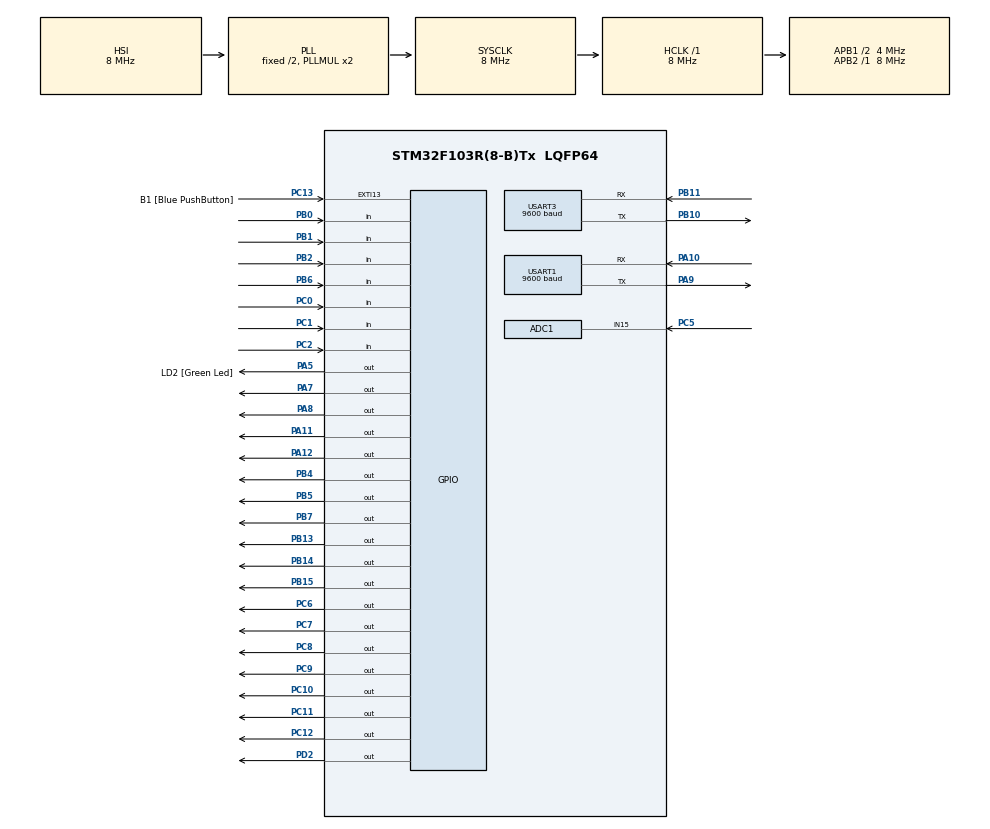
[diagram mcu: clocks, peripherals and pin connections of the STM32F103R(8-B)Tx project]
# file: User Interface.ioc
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Mcu.Family=STM32F1
PA2.GPIO_PuPd=GPIO_NOPULL
FREERTOS.Queues01=FlowQueue,8,uint16_t,0,Dynamic,NULL,NULL;WeatherQueue,8,uint16_t,0,Dynamic,NULL,NULL;SolenoidQueue,8,uint16_t,0,Dynamic,NULL,NULL;UserQueue,8,uint16_t,0,Dynamic,NULL,NULL;WebsiteQueue,8,uint16_t,0,Dynamic,NULL,NULL;ProcessQueue,8,uint16_t,0,Dynamic,NULL,NULL
PB10.Mode=Asynchronous
USART1.BaudRate=9600
PC10.Signal=GPIO_Output
PC12.Signal=GPIO_Output
PA14.GPIO_Label=TCK
PA3.GPIO_PuPd=GPIO_NOPULL
PA2.GPIO_Speed=GPIO_SPEED_FREQ_LOW
PA3.GPIO_Speed=GPIO_SPEED_FREQ_LOW
PB11.Signal=USART3_RX
PB13.Signal=GPIO_Output
PB15.Signal=GPIO_Output
RCC.SYSCLKSource=RCC_SYSCLKSOURCE_PLLCLK
ProjectManager.StackSize=0x400
VP_FREERTOS_VS_CMSIS_V2.Mode=CMSIS_V2
PD1-OSC_OUT.Signal=RCC_OSC_OUT
PA12.Signal=GPIO_Output
USART3.BaudRate=9600
PB1.GPIO_PuPd=GPIO_PULLDOWN
RCC.HCLKFreq_Value=8000000
RCC.APB2TimFreq_Value=8000000
PB6.Signal=GPIO_Input
PC7.Signal=GPIO_Output
TIM2.ClockDivision=TIM_CLOCKDIVISION_DIV1
RCC.AHBFreq_Value=8000000
NVIC.EXTI15_10_IRQn=true\:5\:0\:false\:false\:true\:true\:true\:true
ADC1.Channel-0\#ChannelRegularConversion=ADC_CHANNEL_15
PB2.Signal=GPIO_Input
SH.ADCx_IN15.0=ADC1_IN15,IN15
RCC.RTCClockSelection=RCC_RTCCLKSOURCE_LSE
PC14-OSC32_IN.Mode=LSE-External-Oscillator
PA14.Mode=Serial_Wire
PA5.GPIO_PuPd=GPIO_NOPULL
PB7.Signal=GPIO_Output
PA8.Signal=GPIO_Output
PB2.GPIO_PuPd=GPIO_PULLDOWN
VP_TIM1_VS_ClockSourceINT.Mode=Internal
ADC1.SamplingTime-0\#ChannelRegularConversion=ADC_SAMPLETIME_1CYCLE_5
FREERTOS.configTOTAL_HEAP_SIZE=6000
Mcu.Package=LQFP64
PB1.Signal=GPIO_Input
NVIC.TimeBase=TIM4_IRQn
PC13-TAMPER-RTC.GPIO_PuPd=GPIO_NOPULL
PA2.GPIO_Label=USART_TX
NVIC.TimeBaseIP=TIM4
PA10.Signal=USART1_RX
RCC.APB1TimFreq_Value=8000000
PC5.Signal=ADCx_IN15
PB4.Signal=GPIO_Output
PA3.Signal=USART2_RX
PA2.GPIO_Mode=GPIO_MODE_AF_PP
PB3.GPIO_Label=SWO
PC15-OSC32_OUT.Mode=LSE-External-Oscillator
FREERTOS.Tasks01=XbeeTask,33,128,StartXbeeTask,Default,NULL,Dynamic,NULL,NULL;UserTask,34,128,StartUserTask,Default,NULL,Dynamic,NULL,NULL;SolenoidTask,35,128,StartSolenoidTask,Default,NULL,Dynamic,NULL,NULL;WeatherTask,36,128,StartWeatherTask,Default,NULL,Dynamic,NULL,NULL;FlowTask,37,128,StartFlowTask,Default,NULL,Dynamic,NULL,NULL;WebsiteTask,39,128,StartWebsiteTask,Default,NULL,Dynamic,NULL,NULL
ADC1.Rank-0\#ChannelRegularConversion=1
PD1-OSC_OUT.Mode=HSE-External-Clock-Source
PA10.Mode=Asynchronous
PC11.Signal=GPIO_Output
PC8.Signal=GPIO_Output
PC2.Signal=GPIO_Input
PC6.Signal=GPIO_Output
PC13-TAMPER-RTC.Signal=GPXTI13
PD0-OSC_IN.Signal=RCC_OSC_IN
PC0.Signal=GPIO_Input
RCC.APB1CLKDivider=RCC_HCLK_DIV2
PC14-OSC32_IN.Signal=RCC_OSC32_IN
PA13.Signal=SYS_JTMS-SWDIO
PA9.Mode=Asynchronous
PB11.Mode=Asynchronous
ProjectManager.TargetToolchain=STM32CubeIDE
PA3.GPIO_Mode=GPIO_MODE_AF_PP
PA9.Signal=USART1_TX
RCC.USBFreq_Value=8000000
PC15-OSC32_OUT.Signal=RCC_OSC32_OUT
PB14.GPIO_ModeDefaultOutputPP=GPIO_MODE_OUTPUT_PP
PD0-OSC_IN.Mode=HSE-External-Clock-Source
PB10.Signal=USART3_TX
PB14.Signal=GPIO_Output
PA5.Signal=GPIO_Output
board=NUCLEO-F103RB
PC13-TAMPER-RTC.GPIO_Label=B1 [Blue PushButton]
RCC.APB2Freq_Value=8000000
PA5.GPIO_ModeDefaultOutputPP=GPIO_MODE_OUTPUT_PP
VP_TIM2_VS_ClockSourceINT.Mode=Internal
PA13.Mode=Serial_Wire
Mcu.Name=STM32F103R(8-B)Tx
PA2.Signal=USART2_TX
PA13.GPIO_Label=TMS
PB3.Signal=SYS_JTDO-TRACESWO
RCC.SYSCLKFreq_VALUE=8000000
PB5.Signal=GPIO_Output
ADC1.master=1
PA5.GPIO_Label=LD2 [Green Led]
USART3.VirtualMode=VM_ASYNC
USART1.VirtualMode=VM_ASYNC
PA11.Signal=GPIO_Output
PA14.Signal=SYS_JTCK-SWCLK
ProjectManager.HeapSize=0x200
VP_SYS_VS_tim4.Mode=TIM4
PA5.GPIO_Speed=GPIO_SPEED_FREQ_LOW
NVIC.PriorityGroup=NVIC_PRIORITYGROUP_4
ADC1.NbrOfConversionFlag=1
PC9.Signal=GPIO_Output
PD2.Signal=GPIO_Output
NVIC.TIM4_IRQn=true\:0\:0\:false\:false\:true\:false\:false\:true
RCC.APB1Freq_Value=4000000
PB0.Signal=GPIO_Input
PC1.Signal=GPIO_Input
PB0.GPIO_PuPd=GPIO_PULLDOWN
PA3.GPIO_Label=USART_RX
PA7.Signal=GPIO_Output

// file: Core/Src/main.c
/* USER CODE BEGIN Header */
/**
  ******************************************************************************
  * @file           : main.c
  * @brief          : Main program body
  ******************************************************************************
  * @attention
  *
  * <h2><center>&copy; Copyright (c) 2021 STMicroelectronics.
  * All rights reserved.</center></h2>
  *
  * This software component is licensed by ST under BSD 3-Clause license,
  * the "License"; You may not use this file except in compliance with the
  * License. You may obtain a copy of the License at:
  *                        opensource.org/licenses/BSD-3-Clause
  *
  ******************************************************************************
  */
/* USER CODE END Header */
#include "main.h"
#include "cmsis_os.h"

/* USER CODE BEGIN Includes */
#include "sensorObjects.h"
#include "Letters.h"

/* USER CODE END Includes */

ADC_HandleTypeDef hadc1;

TIM_HandleTypeDef htim1;
TIM_HandleTypeDef htim2;

UART_HandleTypeDef huart1;
UART_HandleTypeDef huart3;

/* Definitions for XbeeTask */
osThreadId_t XbeeTaskHandle;
const osThreadAttr_t XbeeTask_attributes = {
  .name = "XbeeTask",
  .priority = (osPriority_t) osPriorityAboveNormal1,
  .stack_size = 128 * 4
};
/* Definitions for UserTask */
osThreadId_t UserTaskHandle;
const osThreadAttr_t UserTask_attributes = {
  .name = "UserTask",
  .priority = (osPriority_t) osPriorityAboveNormal2,
  .stack_size = 128 * 4
};
/* Definitions for SolenoidTask */
osThreadId_t SolenoidTaskHandle;
const osThreadAttr_t SolenoidTask_attributes = {
  .name = "SolenoidTask",
  .priority = (osPriority_t) osPriorityAboveNormal3,
  .stack_size = 128 * 4
};
/* Definitions for WeatherTask */
osThreadId_t WeatherTaskHandle;
const osThreadAttr_t WeatherTask_attributes = {
  .name = "WeatherTask",
  .priority = (osPriority_t) osPriorityAboveNormal4,
  .stack_size = 128 * 4
};
/* Definitions for FlowTask */
osThreadId_t FlowTaskHandle;
const osThreadAttr_t FlowTask_attributes = {
  .name = "FlowTask",
  .priority = (osPriority_t) osPriorityAboveNormal5,
  .stack_size = 128 * 4
};
/* Definitions for WebsiteTask */
osThreadId_t WebsiteTaskHandle;
const osThreadAttr_t WebsiteTask_attributes = {
  .name = "WebsiteTask",
  .priority = (osPriority_t) osPriorityAboveNormal7,
  .stack_size = 128 * 4
};
/* Definitions for FlowQueue */
osMessageQueueId_t FlowQueueHandle;
const osMessageQueueAttr_t FlowQueue_attributes = {
  .name = "FlowQueue"
};
/* Definitions for WeatherQueue */
osMessageQueueId_t WeatherQueueHandle;
const osMessageQueueAttr_t WeatherQueue_attributes = {
  .name = "WeatherQueue"
};
/* Definitions for SolenoidQueue */
osMessageQueueId_t SolenoidQueueHandle;
const osMessageQueueAttr_t SolenoidQueue_attributes = {
  .name = "SolenoidQueue"
};
/* Definitions for UserQueue */
osMessageQueueId_t UserQueueHandle;
const osMessageQueueAttr_t UserQueue_attributes = {
  .name = "UserQueue"
};
/* Definitions for WebsiteQueue */
osMessageQueueId_t WebsiteQueueHandle;
const osMessageQueueAttr_t WebsiteQueue_attributes = {
  .name = "WebsiteQueue"
};
/* Definitions for ProcessQueue */
osMessageQueueId_t ProcessQueueHandle;
const osMessageQueueAttr_t ProcessQueue_attributes = {
  .name = "ProcessQueue"
};
/* USER CODE BEGIN PV */
//global variables
uint8_t UserInfo[4] = {0,0,0,0};
uint16_t Water[3] = {0,0,0};
uint16_t Flow[3] = {0,0,0};
uint8_t web[5] = {0,0,0,0,0};
uint8_t rain;
double Temperature;
double Humidity;
/* USER CODE END PV */

void SystemClock_Config(void);
static void MX_GPIO_Init(void);
static void MX_TIM2_Init(void);
static void MX_USART3_UART_Init(void);
static void MX_USART1_UART_Init(void);
static void MX_ADC1_Init(void);
static void MX_TIM1_Init(void);
void StartXbeeTask(void *argument);
void StartUserTask(void *argument);
void StartSolenoidTask(void *argument);
void StartWeatherTask(void *argument);
void StartFlowTask(void *argument);
void StartWebsiteTask(void *argument);

/* USER CODE BEGIN PFP */
void commandToLCD(void);
void printPassword(void);
void line1(void);
void line2(void);
void clear(void);
void correct(void);
int getVal(void);
void wrongPass(void);
void green(void);
void timer(void);
void quit(void);
void onOffTime(void);
void onOff(void);
void error(void);
void calcRain(void);
/* USER CODE END PFP */

int main(void)
{

  /* MCU Configuration--------------------------------------------------------*/

  /* Reset of all peripherals, Initializes the Flash interface and the Systick. */
  HAL_Init();

  /* Configure the system clock */
  SystemClock_Config();

  /* Initialize all configured peripherals */
  MX_GPIO_Init();
  MX_TIM2_Init();
  MX_USART3_UART_Init();
  MX_USART1_UART_Init();
  MX_ADC1_Init();
  MX_TIM1_Init();

  /* Init scheduler */
  osKernelInitialize();

  /* Create the queue(s) */
  /* creation of FlowQueue */
  FlowQueueHandle = osMessageQueueNew (8, sizeof(uint16_t), &FlowQueue_attributes);

  /* creation of WeatherQueue */
  WeatherQueueHandle = osMessageQueueNew (8, sizeof(uint16_t), &WeatherQueue_attributes);

  /* creation of SolenoidQueue */
  SolenoidQueueHandle = osMessageQueueNew (8, sizeof(uint16_t), &SolenoidQueue_attributes);

  /* creation of UserQueue */
  UserQueueHandle = osMessageQueueNew (8, sizeof(uint16_t), &UserQueue_attributes);

  /* creation of WebsiteQueue */
  WebsiteQueueHandle = osMessageQueueNew (8, sizeof(uint16_t), &WebsiteQueue_attributes);

  /* creation of ProcessQueue */
  ProcessQueueHandle = osMessageQueueNew (8, sizeof(uint16_t), &ProcessQueue_attributes);

  /* Create the thread(s) */
  /* creation of XbeeTask */
  XbeeTaskHandle = osThreadNew(StartXbeeTask, NULL, &XbeeTask_attributes);

  /* creation of UserTask */
  UserTaskHandle = osThreadNew(StartUserTask, NULL, &UserTask_attributes);

  /* creation of SolenoidTask */
  SolenoidTaskHandle = osThreadNew(StartSolenoidTask, NULL, &SolenoidTask_attributes);

  /* creation of WeatherTask */
  WeatherTaskHandle = osThreadNew(StartWeatherTask, NULL, &WeatherTask_attributes);

  /* creation of FlowTask */
  FlowTaskHandle = osThreadNew(StartFlowTask, NULL, &FlowTask_attributes);

  /* creation of WebsiteTask */
  WebsiteTaskHandle = osThreadNew(StartWebsiteTask, NULL, &WebsiteTask_attributes);

  /* Start scheduler */
  osKernelStart();

  /* We should never get here as control is now taken by the scheduler */
  /* Infinite loop */
  while(1)
  {

  }
}

void SystemClock_Config(void)
{
  RCC_OscInitTypeDef RCC_OscInitStruct = {0};
  RCC_ClkInitTypeDef RCC_ClkInitStruct = {0};
  RCC_PeriphCLKInitTypeDef PeriphClkInit = {0};

  /** Initializes the RCC Oscillators according to the specified parameters
  * in the RCC_OscInitTypeDef structure.
  */
  RCC_OscInitStruct.OscillatorType = RCC_OSCILLATORTYPE_HSI;
  RCC_OscInitStruct.HSIState = RCC_HSI_ON;
  RCC_OscInitStruct.HSICalibrationValue = RCC_HSICALIBRATION_DEFAULT;
  RCC_OscInitStruct.PLL.PLLState = RCC_PLL_ON;
  RCC_OscInitStruct.PLL.PLLSource = RCC_PLLSOURCE_HSI_DIV2;
  RCC_OscInitStruct.PLL.PLLMUL = RCC_PLL_MUL2;
  if (HAL_RCC_OscConfig(&RCC_OscInitStruct) != HAL_OK)
  {
    Error_Handler();
  }
  /** Initializes the CPU, AHB and APB buses clocks
  */
  RCC_ClkInitStruct.ClockType = RCC_CLOCKTYPE_HCLK|RCC_CLOCKTYPE_SYSCLK
                              |RCC_CLOCKTYPE_PCLK1|RCC_CLOCKTYPE_PCLK2;
  RCC_ClkInitStruct.SYSCLKSource = RCC_SYSCLKSOURCE_PLLCLK;
  RCC_ClkInitStruct.AHBCLKDivider = RCC_SYSCLK_DIV1;
  RCC_ClkInitStruct.APB1CLKDivider = RCC_HCLK_DIV2;
  RCC_ClkInitStruct.APB2CLKDivider = RCC_HCLK_DIV1;

  if (HAL_RCC_ClockConfig(&RCC_ClkInitStruct, FLASH_LATENCY_0) != HAL_OK)
  {
    Error_Handler();
  }
  PeriphClkInit.PeriphClockSelection = RCC_PERIPHCLK_ADC;
  PeriphClkInit.AdcClockSelection = RCC_ADCPCLK2_DIV2;
  if (HAL_RCCEx_PeriphCLKConfig(&PeriphClkInit) != HAL_OK)
  {
    Error_Handler();
  }
}

static void MX_ADC1_Init(void)
{

  ADC_ChannelConfTypeDef sConfig = {0};

  /** Common config
  */
  hadc1.Instance = ADC1;
  hadc1.Init.ScanConvMode = ADC_SCAN_DISABLE;
  hadc1.Init.ContinuousConvMode = DISABLE;
  hadc1.Init.DiscontinuousConvMode = DISABLE;
  hadc1.Init.ExternalTrigConv = ADC_SOFTWARE_START;
  hadc1.Init.DataAlign = ADC_DATAALIGN_RIGHT;
  hadc1.Init.NbrOfConversion = 1;
  if (HAL_ADC_Init(&hadc1) != HAL_OK)
  {
    Error_Handler();
  }
  /** Configure Regular Channel
  */
  sConfig.Channel = ADC_CHANNEL_15;
  sConfig.Rank = ADC_REGULAR_RANK_1;
  sConfig.SamplingTime = ADC_SAMPLETIME_1CYCLE_5;
  if (HAL_ADC_ConfigChannel(&hadc1, &sConfig) != HAL_OK)
  {
    Error_Handler();
  }

}

static void MX_TIM1_Init(void)
{

  TIM_ClockConfigTypeDef sClockSourceConfig = {0};
  TIM_MasterConfigTypeDef sMasterConfig = {0};

  htim1.Instance = TIM1;
  htim1.Init.Prescaler = 0;
  htim1.Init.CounterMode = TIM_COUNTERMODE_UP;
  htim1.Init.Period = 65535;
  htim1.Init.ClockDivision = TIM_CLOCKDIVISION_DIV1;
  htim1.Init.RepetitionCounter = 0;
  htim1.Init.AutoReloadPreload = TIM_AUTORELOAD_PRELOAD_DISABLE;
  if (HAL_TIM_Base_Init(&htim1) != HAL_OK)
  {
    Error_Handler();
  }
  sClockSourceConfig.ClockSource = TIM_CLOCKSOURCE_INTERNAL;
  if (HAL_TIM_ConfigClockSource(&htim1, &sClockSourceConfig) != HAL_OK)
  {
    Error_Handler();
  }
  sMasterConfig.MasterOutputTrigger = TIM_TRGO_RESET;
  sMasterConfig.MasterSlaveMode = TIM_MASTERSLAVEMODE_DISABLE;
  if (HAL_TIMEx_MasterConfigSynchronization(&htim1, &sMasterConfig) != HAL_OK)
  {
    Error_Handler();
  }

}

static void MX_TIM2_Init(void)
{

  TIM_ClockConfigTypeDef sClockSourceConfig = {0};
  TIM_MasterConfigTypeDef sMasterConfig = {0};

  htim2.Instance = TIM2;
  htim2.Init.Prescaler = 0;
  htim2.Init.CounterMode = TIM_COUNTERMODE_UP;
  htim2.Init.Period = 65535;
  htim2.Init.ClockDivision = TIM_CLOCKDIVISION_DIV1;
  htim2.Init.AutoReloadPreload = TIM_AUTORELOAD_PRELOAD_DISABLE;
  if (HAL_TIM_Base_Init(&htim2) != HAL_OK)
  {
    Error_Handler();
  }
  sClockSourceConfig.ClockSource = TIM_CLOCKSOURCE_INTERNAL;
  if (HAL_TIM_ConfigClockSource(&htim2, &sClockSourceConfig) != HAL_OK)
  {
    Error_Handler();
  }
  sMasterConfig.MasterOutputTrigger = TIM_TRGO_RESET;
  sMasterConfig.MasterSlaveMode = TIM_MASTERSLAVEMODE_DISABLE;
  if (HAL_TIMEx_MasterConfigSynchronization(&htim2, &sMasterConfig) != HAL_OK)
  {
    Error_Handler();
  }

}

static void MX_USART1_UART_Init(void)
{

  huart1.Instance = USART1;
  huart1.Init.BaudRate = 9600;
  huart1.Init.WordLength = UART_WORDLENGTH_8B;
  huart1.Init.StopBits = UART_STOPBITS_1;
  huart1.Init.Parity = UART_PARITY_NONE;
  huart1.Init.Mode = UART_MODE_TX_RX;
  huart1.Init.HwFlowCtl = UART_HWCONTROL_NONE;
  huart1.Init.OverSampling = UART_OVERSAMPLING_16;
  if (HAL_UART_Init(&huart1) != HAL_OK)
  {
    Error_Handler();
  }

}

static void MX_USART3_UART_Init(void)
{

  huart3.Instance = USART3;
  huart3.Init.BaudRate = 9600;
  huart3.Init.WordLength = UART_WORDLENGTH_8B;
  huart3.Init.StopBits = UART_STOPBITS_1;
  huart3.Init.Parity = UART_PARITY_NONE;
  huart3.Init.Mode = UART_MODE_TX_RX;
  huart3.Init.HwFlowCtl = UART_HWCONTROL_NONE;
  huart3.Init.OverSampling = UART_OVERSAMPLING_16;
  if (HAL_UART_Init(&huart3) != HAL_OK)
  {
    Error_Handler();
  }

}

static void MX_GPIO_Init(void)
{
  GPIO_InitTypeDef GPIO_InitStruct = {0};

  /* GPIO Ports Clock Enable */
  __HAL_RCC_GPIOC_CLK_ENABLE();
  __HAL_RCC_GPIOD_CLK_ENABLE();
  __HAL_RCC_GPIOA_CLK_ENABLE();
  __HAL_RCC_GPIOB_CLK_ENABLE();

  /*Configure GPIO pin Output Level */
  HAL_GPIO_WritePin(GPIOA, LD2_Pin|GPIO_PIN_7|GPIO_PIN_8|GPIO_PIN_11
                          |GPIO_PIN_12, GPIO_PIN_RESET);

  /*Configure GPIO pin Output Level */
  HAL_GPIO_WritePin(GPIOB, GPIO_PIN_13|GPIO_PIN_14|GPIO_PIN_15|GPIO_PIN_4
                          |GPIO_PIN_5|GPIO_PIN_7, GPIO_PIN_RESET);

  /*Configure GPIO pin Output Level */
  HAL_GPIO_WritePin(GPIOC, GPIO_PIN_6|GPIO_PIN_7|GPIO_PIN_8|GPIO_PIN_9
                          |GPIO_PIN_10|GPIO_PIN_11|GPIO_PIN_12, GPIO_PIN_RESET);

  /*Configure GPIO pin Output Level */
  HAL_GPIO_WritePin(GPIOD, GPIO_PIN_2, GPIO_PIN_RESET);

  /*Configure GPIO pin : B1_Pin */
  GPIO_InitStruct.Pin = B1_Pin;
  GPIO_InitStruct.Mode = GPIO_MODE_IT_RISING;
  GPIO_InitStruct.Pull = GPIO_NOPULL;
  HAL_GPIO_Init(B1_GPIO_Port, &GPIO_InitStruct);

  /*Configure GPIO pins : PC0 PC1 PC2 */
  GPIO_InitStruct.Pin = GPIO_PIN_0|GPIO_PIN_1|GPIO_PIN_2;
  GPIO_InitStruct.Mode = GPIO_MODE_INPUT;
  GPIO_InitStruct.Pull = GPIO_NOPULL;
  HAL_GPIO_Init(GPIOC, &GPIO_InitStruct);

  /*Configure GPIO pins : USART_TX_Pin USART_RX_Pin */
  GPIO_InitStruct.Pin = USART_TX_Pin|USART_RX_Pin;
  GPIO_InitStruct.Mode = GPIO_MODE_AF_PP;
  GPIO_InitStruct.Speed = GPIO_SPEED_FREQ_LOW;
  HAL_GPIO_Init(GPIOA, &GPIO_InitStruct);

  /*Configure GPIO pins : LD2_Pin PA7 PA8 PA11
                           PA12 */
  GPIO_InitStruct.Pin = LD2_Pin|GPIO_PIN_7|GPIO_PIN_8|GPIO_PIN_11
                          |GPIO_PIN_12;
  GPIO_InitStruct.Mode = GPIO_MODE_OUTPUT_PP;
  GPIO_InitStruct.Pull = GPIO_NOPULL;
  GPIO_InitStruct.Speed = GPIO_SPEED_FREQ_LOW;
  HAL_GPIO_Init(GPIOA, &GPIO_InitStruct);

  /*Configure GPIO pins : PB0 PB1 PB2 */
  GPIO_InitStruct.Pin = GPIO_PIN_0|GPIO_PIN_1|GPIO_PIN_2;
  GPIO_InitStruct.Mode = GPIO_MODE_INPUT;
  GPIO_InitStruct.Pull = GPIO_PULLDOWN;
  HAL_GPIO_Init(GPIOB, &GPIO_InitStruct);

  /*Configure GPIO pins : PB13 PB14 PB15 PB4
                           PB5 PB7 */
  GPIO_InitStruct.Pin = GPIO_PIN_13|GPIO_PIN_14|GPIO_PIN_15|GPIO_PIN_4
                          |GPIO_PIN_5|GPIO_PIN_7;
  GPIO_InitStruct.Mode = GPIO_MODE_OUTPUT_PP;
  GPIO_InitStruct.Pull = GPIO_NOPULL;
  GPIO_InitStruct.Speed = GPIO_SPEED_FREQ_LOW;
  HAL_GPIO_Init(GPIOB, &GPIO_InitStruct);

  /*Configure GPIO pins : PC6 PC7 PC8 PC9
                           PC10 PC11 PC12 */
  GPIO_InitStruct.Pin = GPIO_PIN_6|GPIO_PIN_7|GPIO_PIN_8|GPIO_PIN_9
                          |GPIO_PIN_10|GPIO_PIN_11|GPIO_PIN_12;
  GPIO_InitStruct.Mode = GPIO_MODE_OUTPUT_PP;
  GPIO_InitStruct.Pull = GPIO_NOPULL;
  GPIO_InitStruct.Speed = GPIO_SPEED_FREQ_LOW;
  HAL_GPIO_Init(GPIOC, &GPIO_InitStruct);

  /*Configure GPIO pin : PD2 */
  GPIO_InitStruct.Pin = GPIO_PIN_2;
  GPIO_InitStruct.Mode = GPIO_MODE_OUTPUT_PP;
  GPIO_InitStruct.Pull = GPIO_NOPULL;
  GPIO_InitStruct.Speed = GPIO_SPEED_FREQ_LOW;
  HAL_GPIO_Init(GPIOD, &GPIO_InitStruct);

  /*Configure GPIO pin : PB6 */
  GPIO_InitStruct.Pin = GPIO_PIN_6;
  GPIO_InitStruct.Mode = GPIO_MODE_INPUT;
  GPIO_InitStruct.Pull = GPIO_NOPULL;
  HAL_GPIO_Init(GPIOB, &GPIO_InitStruct);

  /* EXTI interrupt init*/
  HAL_NVIC_SetPriority(EXTI15_10_IRQn, 5, 0);
  HAL_NVIC_EnableIRQ(EXTI15_10_IRQn);

}

/* USER CODE BEGIN 4 */
void commandToLCD(void)// Send configuration data to my LCD
{
	HAL_Delay(20);

	HAL_GPIO_WritePin(GPIOB, GPIO_PIN_15, 0);//RS low
	HAL_GPIO_WritePin(GPIOB, GPIO_PIN_14, 0);//R/W low
	HAL_GPIO_WritePin(GPIOB, GPIO_PIN_13, 1);//E high

	HAL_GPIO_WritePin(GPIOC, GPIO_PIN_9, 0);//D0	//Enable 8 bit data, 2 display lines
	HAL_GPIO_WritePin(GPIOC, GPIO_PIN_8, 0);//D1
	HAL_GPIO_WritePin(GPIOC, GPIO_PIN_6, 0);//D2//letter font, 1 = 5x11, 0 = 5x8
	HAL_GPIO_WritePin(GPIOC, GPIO_PIN_7, 1);//D3//number of lines, 1 = 2, 0 = 1
	HAL_GPIO_WritePin(GPIOA, GPIO_PIN_7, 1);//D4//interface bit length, 1 = 8bit, 0 = 4bit
	HAL_GPIO_WritePin(GPIOA, GPIO_PIN_8, 1);//D5
	HAL_GPIO_WritePin(GPIOA, GPIO_PIN_12, 0);//D6
	HAL_GPIO_WritePin(GPIOA, GPIO_PIN_11, 0);//D7

	HAL_GPIO_WritePin(GPIOB, GPIO_PIN_13, 0);//E low
	HAL_Delay(5);

	HAL_GPIO_WritePin(GPIOB, GPIO_PIN_13, 1);//E high

	HAL_GPIO_WritePin(GPIOC, GPIO_PIN_9, 1);//D0//cursor blinking on = 1	//Enable Display, Cursor, Blink
	HAL_GPIO_WritePin(GPIOC, GPIO_PIN_8, 1);//D1//cursor on = 1
	HAL_GPIO_WritePin(GPIOC, GPIO_PIN_6, 1);//D2//display on = 1
	HAL_GPIO_WritePin(GPIOC, GPIO_PIN_7, 1);//D3
	HAL_GPIO_WritePin(GPIOA, GPIO_PIN_7, 0);//D4
	HAL_GPIO_WritePin(GPIOA, GPIO_PIN_8, 0);//D5
	HAL_GPIO_WritePin(GPIOA, GPIO_PIN_12, 0);//D6
	HAL_GPIO_WritePin(GPIOA, GPIO_PIN_11, 0);//D7

	HAL_GPIO_WritePin(GPIOB, GPIO_PIN_13, 0);//E low
	HAL_Delay(5);

	clear();

	HAL_GPIO_WritePin(GPIOB, GPIO_PIN_13, 1);//E high

	HAL_GPIO_WritePin(GPIOC, GPIO_PIN_9, 0);//D0	//Set Move Cursor Right
	HAL_GPIO_WritePin(GPIOC, GPIO_PIN_8, 1);//D1
	HAL_GPIO_WritePin(GPIOC, GPIO_PIN_6, 1);//D2//right
	HAL_GPIO_WritePin(GPIOC, GPIO_PIN_7, 0);//D3
	HAL_GPIO_WritePin(GPIOA, GPIO_PIN_7, 0);//D4
	HAL_GPIO_WritePin(GPIOA, GPIO_PIN_8, 0);//D5
	HAL_GPIO_WritePin(GPIOA, GPIO_PIN_12, 0);//D6
	HAL_GPIO_WritePin(GPIOA, GPIO_PIN_11, 0);//D7

	HAL_GPIO_WritePin(GPIOB, GPIO_PIN_13, 0); //E low
	HAL_Delay(5);

	HAL_GPIO_WritePin(GPIOB, GPIO_PIN_14, 1);//R/W high
	while(HAL_GPIO_ReadPin(GPIOA, GPIO_PIN_11) == 1)
	{}
}
void printPassword(void)// print out "Password:" on LCD
{

	HAL_GPIO_WritePin(GPIOB, GPIO_PIN_15, 1);//RS high
	HAL_GPIO_WritePin(GPIOB, GPIO_PIN_14, 0);//R/W low
	letter('P');
	letter('a');
	letter('s');
	letter('s');
	letter('w');
	letter('o');
	letter('r');
	letter('d');
	letter(':');
}
void line1(void)// set cursor to line 1 on LCD
{
	HAL_GPIO_WritePin(GPIOB, GPIO_PIN_15, 0);//RS low
	HAL_GPIO_WritePin(GPIOB, GPIO_PIN_14, 0);//R/W low
	HAL_GPIO_WritePin(GPIOB, GPIO_PIN_13, 1);//E high

	HAL_GPIO_WritePin(GPIOC, GPIO_PIN_9, 0);//D0	//Set DDRAM to start of line 1
	HAL_GPIO_WritePin(GPIOC, GPIO_PIN_8, 0);//D1
	HAL_GPIO_WritePin(GPIOC, GPIO_PIN_6, 0);//D2
	HAL_GPIO_WritePin(GPIOC, GPIO_PIN_7, 0);//D3
	HAL_GPIO_WritePin(GPIOA, GPIO_PIN_7, 0);//D4
	HAL_GPIO_WritePin(GPIOA, GPIO_PIN_8, 0);//D5
	HAL_GPIO_WritePin(GPIOA, GPIO_PIN_12, 0);//D6
	HAL_GPIO_WritePin(GPIOA, GPIO_PIN_11, 1);//D7

	HAL_GPIO_WritePin(GPIOB, GPIO_PIN_13, 0);//E low
	HAL_Delay(5);
}
void line2(void)// set cursor to line 2 on LCD
{
	HAL_GPIO_WritePin(GPIOB, GPIO_PIN_15, 0);//RS low
	HAL_GPIO_WritePin(GPIOB, GPIO_PIN_14, 0);//R/W low
	HAL_GPIO_WritePin(GPIOB, GPIO_PIN_13, 1);//E high

	HAL_GPIO_WritePin(GPIOC, GPIO_PIN_9, 0);//D0	//Set DDRAM to start of line 2
	HAL_GPIO_WritePin(GPIOC, GPIO_PIN_8, 0);//D1
	HAL_GPIO_WritePin(GPIOC, GPIO_PIN_6, 0);//D2
	HAL_GPIO_WritePin(GPIOC, GPIO_PIN_7, 0);//D3
	HAL_GPIO_WritePin(GPIOA, GPIO_PIN_7, 0);//D4
	HAL_GPIO_WritePin(GPIOA, GPIO_PIN_8, 0);//D5
	HAL_GPIO_WritePin(GPIOA, GPIO_PIN_12, 1);//D6
	HAL_GPIO_WritePin(GPIOA, GPIO_PIN_11, 1);//D7

	HAL_GPIO_WritePin(GPIOB, GPIO_PIN_13, 0);//E low
	HAL_Delay(5);
}
void clear()// clear LCD screen
{
	HAL_GPIO_WritePin(GPIOB, GPIO_PIN_15, 0);//RS low
	HAL_GPIO_WritePin(GPIOB, GPIO_PIN_14, 0);//R/W low
	HAL_GPIO_WritePin(GPIOB, GPIO_PIN_13, 1);//E high

	HAL_GPIO_WritePin(GPIOC, GPIO_PIN_9, 1);//D0	//Home and clear LCD
	HAL_GPIO_WritePin(GPIOC, GPIO_PIN_8, 0);//D1
	HAL_GPIO_WritePin(GPIOC, GPIO_PIN_6, 0);//D2
	HAL_GPIO_WritePin(GPIOC, GPIO_PIN_7, 0);//D3
	HAL_GPIO_WritePin(GPIOA, GPIO_PIN_7, 0);//D4
	HAL_GPIO_WritePin(GPIOA, GPIO_PIN_8, 0);//D5
	HAL_GPIO_WritePin(GPIOA, GPIO_PIN_12, 0);//D6
	HAL_GPIO_WritePin(GPIOA, GPIO_PIN_11, 0);//D7

	HAL_GPIO_WritePin(GPIOB, GPIO_PIN_13, 0); //E low
	HAL_Delay(5);
}
void correct()// print out "Correct!"
{
	HAL_GPIO_WritePin(GPIOB, GPIO_PIN_15, 1);//RS high
	HAL_GPIO_WritePin(GPIOB, GPIO_PIN_14, 0);//R/W low
	letter('C');
	letter('o');
	letter('r');
	letter('r');
	letter('e');
	letter('c');
	letter('t');
	letter('!');
}
int getVal(void)// get input value from keypad
{
	int count = 0;
	int val=0;
	while(count<1)//while we don't have a value count is below 1
	{

	  HAL_GPIO_WritePin(GPIOC, GPIO_PIN_10, 1);//ROW1
	  	  	  	  	  	  	  	  	  	  	  	  	  //check for top row values 1,2,3
	  if(HAL_GPIO_ReadPin(GPIOB, GPIO_PIN_2) == 1)//COL1
	  {
		  letter('1');

		  while(HAL_GPIO_ReadPin(GPIOB, GPIO_PIN_2) == 1)
		  {}
		  HAL_Delay(100);
		  val = 1;
		  count++;
	  }
	  	  	  	  	  //check for top row values 1,2,3
	  if(HAL_GPIO_ReadPin(GPIOB, GPIO_PIN_1) == 1)//COL2
	  {
		  letter('2');

		  while(HAL_GPIO_ReadPin(GPIOB, GPIO_PIN_1) == 1)
		  {}
		  HAL_Delay(100);
		  val = 2;
		  count++;
	  }
	  	  	  	  	  //check for top row values 1,2,3
	  if(HAL_GPIO_ReadPin(GPIOB, GPIO_PIN_0) == 1)//COL3
	  {
		  letter('3');

		  while(HAL_GPIO_ReadPin(GPIOB, GPIO_PIN_0) == 1)
		  {}
		  HAL_Delay(100);
		  val = 3;
		  count++;
	  }
	  HAL_GPIO_WritePin(GPIOC, GPIO_PIN_10, 0);//ROW1
	  HAL_GPIO_WritePin(GPIOD, GPIO_PIN_2, 1);//ROW2

	  	  	  	  	  //check for second row values 4,5,6
	  if(HAL_GPIO_ReadPin(GPIOB, GPIO_PIN_2) == 1)//COL1
	  {
		  letter('4');

		  while(HAL_GPIO_ReadPin(GPIOB, GPIO_PIN_2) == 1)
		  {}
		  HAL_Delay(100);
		  val = 4;
		  count++;
	  }
	  	  	  	  	  //check for second row values 4,5,6
	  if(HAL_GPIO_ReadPin(GPIOB, GPIO_PIN_1) == 1)//COL2
	  {
		  letter('5');

		  while(HAL_GPIO_ReadPin(GPIOB, GPIO_PIN_1) == 1)
		  {}
		  HAL_Delay(100);
		  val = 5;
		  count++;
	  }
	  	  	  	  	  //check for second row values 4,5,6
	  if(HAL_GPIO_ReadPin(GPIOB, GPIO_PIN_0) == 1)//COL3
	  {
		  letter('6');

		  while(HAL_GPIO_ReadPin(GPIOB, GPIO_PIN_0) == 1)
		  {}
		  HAL_Delay(100);
		  val = 6;
		  count++;
	  }

	  HAL_GPIO_WritePin(GPIOD, GPIO_PIN_2, 0);//ROW2
	  HAL_GPIO_WritePin(GPIOC, GPIO_PIN_12, 1);//ROW3
  	  	  	  	  	  //check for third row values 7,8,9
	  if(HAL_GPIO_ReadPin(GPIOB, GPIO_PIN_2) == 1)//COL1
	  {
		  letter('7');

		  while(HAL_GPIO_ReadPin(GPIOB, GPIO_PIN_2) == 1)
		  {}
		  HAL_Delay(100);
		  val = 7;
		  count++;
	  }
	  	  	  	  	  //check for third row values 7,8,9
	  if(HAL_GPIO_ReadPin(GPIOB, GPIO_PIN_1) == 1)//COL2
	  {
		  letter('8');

		  while(HAL_GPIO_ReadPin(GPIOB, GPIO_PIN_1) == 1)
		  {}
		  HAL_Delay(100);
		  val = 8;
		  count++;
	  }
	  	  	  	  	  //check for third row values 7,8,9
	  if(HAL_GPIO_ReadPin(GPIOB, GPIO_PIN_0) == 1)//COL3
	  {
		  letter('9');

		  while(HAL_GPIO_ReadPin(GPIOB, GPIO_PIN_0) == 1)
		  {}
		  HAL_Delay(100);
		  val = 9;
		  count++;
	  }

	  HAL_GPIO_WritePin(GPIOC, GPIO_PIN_12, 0);//ROW3
	  HAL_GPIO_WritePin(GPIOC, GPIO_PIN_11, 1);//ROW4
	  	  	  	  	  	  //check for fourth row values *,0,#
	  if(HAL_GPIO_ReadPin(GPIOB, GPIO_PIN_2) == 1)//COL1
	  {
		  letter('*');

		  while(HAL_GPIO_ReadPin(GPIOB, GPIO_PIN_2) == 1)
		  {}
		  HAL_Delay(100);
		  val = 10;
		  count++;
	  }
	  	  	  	  	  	  //check for fourth row values *,0,#
	  if(HAL_GPIO_ReadPin(GPIOB, GPIO_PIN_1) == 1)//COL2
	  {
		  letter('0');

		  while(HAL_GPIO_ReadPin(GPIOB, GPIO_PIN_1) == 1)
		  {}
		  HAL_Delay(100);
		  val = 0;
		  count++;
	  }
	  	  	  	  	  	  //check for fourth row values *,0,#
	  if(HAL_GPIO_ReadPin(GPIOB, GPIO_PIN_0) == 1)//COL3
	  {
		  letter('#');

		  while(HAL_GPIO_ReadPin(GPIOB, GPIO_PIN_0) == 1)
		  {}
		  HAL_Delay(100);
		  val = 11;
		  count++;
	  }

	  HAL_GPIO_WritePin(GPIOC, GPIO_PIN_11, 0);//ROW3
	}
	return val;
}
void calcRain(void)//decides if it will rain or not
{
	double Dewpoint = 0, n = 0, temp;
	temp = (17.27*Temperature)/(237.3+Temperature);
	n = (log(Humidity/100) + temp);
	Dewpoint = (237.3*n)/(1-n);
	if(Humidity >= 70)
	{
		temp = Dewpoint/0.926316;
		if (temp <= Humidity && Humidity >= 85)//rain is coming if its expected and the cop is greater than 70%
		{
			if(web[2] >= 7 )//if COP is greater than 70%
			{
				rain = 1;
			}
		}
		else
			rain = 0;
	}

}
void wrongPass(void)//Print Wrong Password on entry of wrong password
{
	HAL_GPIO_WritePin(GPIOB, GPIO_PIN_15, 1);//RS high
	HAL_GPIO_WritePin(GPIOB, GPIO_PIN_14, 0);//R/W low
	letter('W');
	letter('r');
	letter('o');
	letter('n');
	letter('g');
	letter(' ');
	letter('P');
	letter('a');
	letter('s');
	letter('s');
	letter('w');
	letter('o');
	letter('r');
	letter('d');
}
void green(void)//Print "Green 1-3:"
{
	HAL_GPIO_WritePin(GPIOB, GPIO_PIN_15, 1);//RS high
	HAL_GPIO_WritePin(GPIOB, GPIO_PIN_14, 0);//R/W low
	letter('G');
	letter('r');
	letter('e');
	letter('e');
	letter('n');
	letter(' ');
	letter('1');
	letter('-');
	letter('3');
	letter(':');

}

void timer(void)//Print "Time 00-60min:"
{
	HAL_GPIO_WritePin(GPIOB, GPIO_PIN_15, 1);//RS high
	HAL_GPIO_WritePin(GPIOB, GPIO_PIN_14, 0);//R/W low

	letter('T');
	letter('i');
	letter('m');
	letter('e');
	letter(' ');
	letter('0');
	letter('0');
	letter('-');
	letter('6');
	letter('0');
	letter('m');
	letter('i');
	letter('n');
	letter(':');

}

void quit(void)//Print "Quit? yes-1 no-0:"
{
	HAL_GPIO_WritePin(GPIOB, GPIO_PIN_15, 1);//RS high
	HAL_GPIO_WritePin(GPIOB, GPIO_PIN_14, 0);//R/W low

	letter('Q');
	letter('u');
	letter('i');
	letter('t');
	letter('?');
	letter(' ');
	letter('y');
	letter('e');
	letter('s');
	letter('-');
	letter('1');
	letter(' ');
	letter('n');
	letter('o');
	letter('-');
	letter('0');
	line2();
}
void onOffTime(void)//Print "0-on/off 1-Timer"
{
	HAL_GPIO_WritePin(GPIOB, GPIO_PIN_15, 1);//RS high
	HAL_GPIO_WritePin(GPIOB, GPIO_PIN_14, 0);//R/W low
	letter('0');
	letter('-');
	letter('O');
	letter('n');
	letter('/');
	letter('O');
	letter('f');
	letter('f');
	letter(' ');
	letter('1');
	letter('-');
	letter('T');
	letter('i');
	letter('m');
	letter('e');
	letter('r');
	line2();
}
void onOff(void)//Print "0-on 1-off:"
{
	HAL_GPIO_WritePin(GPIOB, GPIO_PIN_15, 1);//RS high
	HAL_GPIO_WritePin(GPIOB, GPIO_PIN_14, 0);//R/W low
	letter('0');
	letter('-');
	letter('O');
	letter('n');
	letter(' ');
	letter('1');
	letter('-');
	letter('O');
	letter('f');
	letter('f');
	letter(':');

}
void error(void)// Print "Error, Invalid Number"
{
	HAL_GPIO_WritePin(GPIOB, GPIO_PIN_15, 1);//RS high
	HAL_GPIO_WritePin(GPIOB, GPIO_PIN_14, 0);//R/W low

	letter('E');
	letter('r');
	letter('r');
	letter('o');
	letter('r');
	letter(',');
	letter(' ');
	letter('I');
	letter('n');
	letter('v');
	letter('a');
	letter('l');
	letter('i');
	letter('d');

	line2();

	HAL_GPIO_WritePin(GPIOB, GPIO_PIN_15, 1);//RS high
	HAL_GPIO_WritePin(GPIOB, GPIO_PIN_14, 0);//R/W low
	letter('N');
	letter('u');
	letter('m');
	letter('b');
	letter('e');
	letter('r');
}

/* USER CODE END 4 */

void StartXbeeTask(void *argument)
{
  /* USER CODE BEGIN 5 */
	initializeNodes();
	uint16_t Moisture[3] = {100, 100, 100};
  /* Infinite loop */

  for(;;)
  {
	  if(HAL_UART_Receive(&huart3, uartBufferRX, 26, 300) == HAL_OK)
	  {
		 //has to stay with main (the file where the "UART_HandleTypeDef huart3;" is)
		  if (uartBufferRX[0] == 0x7E)
		  {
			  switch (uartBufferRX[3])
			  {
			  case 0x92:
				  processIO(uartBufferRX);
				  break;

			  case 0x97:
				  processATResponse(uartBufferRX);
				  break;

			  default://if it wasnt an expected data type just throw it out
				  HAL_UART_Receive(&huart3, &uartBufferRX[0], 26, 400);
				  break;
			  }
			  ///green1
			  fairways[1].capacative[0] -= 0x30;// set moisture levels for each green and check to see if they're too high
			  fairways[1].capacative[1] -= 0x30;

			  Moisture[0] = fairways[1].capacative[0]*10;
			  Moisture[0] = Moisture[0] + fairways[1].capacative[1];
			  ///green 2
			  fairways[2].capacative[0] -= 0x30;
			  fairways[2].capacative[1] -= 0x30;

			  Moisture[1] = fairways[2].capacative[0]*10;
			  Moisture[1] = Moisture[1] + fairways[2].capacative[1];
			  /// green 3
			  fairways[3].capacative[0] -= 0x30;
			  fairways[3].capacative[1] -= 0x30;

			  Moisture[2] = fairways[3].capacative[0]*10;
			  Moisture[2] = Moisture[2] + fairways[3].capacative[1];
		  }
		  sensorToGateway(1);
	  }
	  //check to see if moisture levels are too high
	  if(Moisture[0] <= 40)//40 percent is 100 in the initial input
	  {
		  HAL_GPIO_WritePin(GPIOB, GPIO_PIN_5, 0);
	  }

	  if(Moisture[1]<= 40)//40 percent is 100 in the initial input
	  {
		  HAL_GPIO_WritePin(GPIOB, GPIO_PIN_7, 0);
	  }

	  if(Moisture[2]<= 40)//40 percent is 100 in the initial input
	  {
		  HAL_GPIO_WritePin(GPIOB, GPIO_PIN_4, 0);
	  }
	  osDelay(1);
  }
  /* USER CODE END 5 */
}

void StartUserTask(void *argument)
{
  /* USER CODE BEGIN StartUserTask */

	uint16_t num[7];
	uint16_t indc, m;

  for(;;)
  {
	commandToLCD();//reset LCD
	printPassword();
	HAL_GPIO_WritePin(GPIOC, GPIO_PIN_10, 0);//ROW1
	HAL_GPIO_WritePin(GPIOD, GPIO_PIN_2, 0);//ROW2
	HAL_GPIO_WritePin(GPIOC, GPIO_PIN_12, 0);//ROW3
	HAL_GPIO_WritePin(GPIOC, GPIO_PIN_11, 0);//ROW4

	for(int i = 0; i < 4; i++)
	{
		num[i] = getVal();
	}
	if(num[0] == 2 && num[1] == 2 && num[2] == 2 && num[3] == 2)
	{
		clear();//clear screen
		line1();// set cursor to line 1
		correct();// after correct password entry
		HAL_Delay(1500);
		num[6] = 0;//set quit variable for start
		while(num[6] == 0)
		{
			commandToLCD();//reset LCD
			onOffTime();//on/off or timer
			num[0] = getVal();
			while(num[0]< 0 || num[0] > 1)
			{
				commandToLCD();//reset LCD
				error();//error invalid entry
				HAL_Delay(1500);
				commandToLCD();//reset LCD
				onOffTime();//on/off or timer
				num[0] = getVal();
			}
			if(num[0] == 0)//on/off selected
			{
				m = 1;
				commandToLCD();//reset LCD
				green();//enter green
				num[0] = getVal();
				while(num[0]< 1 || num[0] > 3)
				{
					commandToLCD();//reset LCD
					error();//error invalid entry
					HAL_Delay(1500);
					commandToLCD();//reset LCD
					green();
					num[0] = getVal();
				}
				indc = num[0];
				line2();
				onOff();//enter value for on or off
				num[0] = getVal();
				while(num[0]< 0 || num[0] > 1)
				{
					commandToLCD();//reset LCD
					error();//error invalid entry
					HAL_Delay(1500);
					commandToLCD();//reset LCD
					onOff();//enter value for on or off
					num[0] = getVal();
				}
				UserInfo[1] = m;//enter new user input data
				UserInfo[2] = indc;
				UserInfo[3] = num[0];
				UserInfo[0]++;

				clear();
				quit();//quit?
				num[5] = getVal();
				while(num[5]< 0 || num[5] > 1)
				{
					commandToLCD();//reset LCD
					error();//error invalid entry
					HAL_Delay(1500);
					commandToLCD();//reset LCD
					quit();
					num[5] = getVal();
				}
			}
			else if(num[0] == 1)//timer
			{
				m = 2;
				commandToLCD();//reset LCD
				green();//get green
				num[0] = getVal();
				while(num[0]< 1 || num[0] > 3)
				{
					commandToLCD();//reset LCD
					error();//error invalid entry
					HAL_Delay(1500);
					commandToLCD();//reset LCD
					green();
					num[0] = getVal();
				}
				indc = num[0];//set green
				line2();
				timer();
				num[0] = getVal();//get time
				num[1] = getVal();
				while(num[0]< 0 || num[0] > 6 || num[1]< 0 || num[1] > 9 || (num[0]==6 && num[1]!=0))
				{
					commandToLCD();//reset LCD
					error();//error invalid entry
					HAL_Delay(1500);
					commandToLCD();//reset LCD
					timer();
					num[0] = getVal();//get time
					num[1] = getVal();
				}
				UserInfo[1] = m;//set input data
				UserInfo[2] = indc;
				UserInfo[3] = num[0];
				UserInfo[0] ++;

				clear();//clear screen
				quit();//quit?
				num[5] = getVal();//get input
				while(num[5]< 0 || num[5] > 1)
				{
					commandToLCD();//reset LCD
					error();//error invalid value
					HAL_Delay(1500);
					commandToLCD();//reset LCD
					quit();//quit?
					num[5] = getVal();//get input
				}
			}
			if(num[5] == 1)
			{
				num[6] = 5;//quit else go back to options
			}
		}
	}
	else
	{
		line2();
		wrongPass();//error wrong password
		HAL_Delay(2000);
	}
	osDelay(1);
  }
  /* USER CODE END StartUserTask */
}

void StartSolenoidTask(void *argument)
{
  /* USER CODE BEGIN StartSolenoidTask */
	uint8_t b = 0, temp, L[3] = {0,0,0}, timS[3] = {0,0,0};
	uint32_t timT[3] = {0,0,0}, timF[3] = {10,10,10};
	/* Infinite loop */

  for(;;)
  {
	  while((timT[0] < timF[0]) && (timT[1] < timF[1]) && (timT[2] < timF[2]) && (rain == 0) && (web[1] == 1))//run all the time if any timer elapses leave
	  {//loop and turn off solenoid then come back in and continue timing also only run while not anticipating rain and after dark

		  if(UserInfo[0] > b)//collecting new values
		  {
			  if(UserInfo[1] == 1)//on/off
			  {
				  if(UserInfo[2] == 1)//green one on/off
					  HAL_GPIO_WritePin(GPIOB, GPIO_PIN_7, ((UserInfo[3] + 1) %2));
				  else if(UserInfo[2] == 2)//green two on/off
					  HAL_GPIO_WritePin(GPIOB, GPIO_PIN_5, ((UserInfo[3] + 1) %2));
				  else if(UserInfo[2] == 3)//green three on/off
					  HAL_GPIO_WritePin(GPIOB, GPIO_PIN_4, ((UserInfo[3] + 1) %2));
			  }
			  else if(UserInfo[1] == 2)//timer
			  {
				  timF[UserInfo[2]-1] = UserInfo[3];//set final time
				  timS[UserInfo[2]-1] =__HAL_TIM_GET_COUNTER(&htim2);
				  if(UserInfo[2] == 1)//green one on
				  {
					  HAL_GPIO_WritePin(GPIOB, GPIO_PIN_7, 1);
					  timS[0] = __HAL_TIM_GET_COUNTER(&htim2);
				  }
				  else if(UserInfo[2] == 2)//green two on
				  {
					  HAL_GPIO_WritePin(GPIOB, GPIO_PIN_5, 1);
					  timS[1] = __HAL_TIM_GET_COUNTER(&htim2);
				  }
				  else if(UserInfo[2] == 3)//green three on
				  {
					  HAL_GPIO_WritePin(GPIOB, GPIO_PIN_4, 1);
					  timS[2] = __HAL_TIM_GET_COUNTER(&htim2);
				  }
			  }
			  UserInfo[0]--;//reset new info check
		  }
		  //running timers if we have a time set for any solenoid
		  if(timF[0] != 10)
		  {
			  if(timS[0] != 0)//if start value isn't in reset state
			  {
				  timF[0] = timF[0] + timS[0];
				  timS[0] = 0;//set start time to reset state now
			  }
			  temp = __HAL_TIM_GET_COUNTER(&htim2);
			  if(temp<L[0])
				  timT[0] = timT[0] + temp + 65535 - L[0];// if timer rolled over calc total time now

			  else
				  timT[0] = timT[0] + (temp - L[0]);// if timer didn't roll over calc total time now
			  L[0] = temp;
		  }
		  else if(timF[1] != 10)
		  {
			  if(timS[1] != 0)//if start value isn't in reset state
			  {
				  timF[1] = timF[1] + timS[1];
				  timS[1] = 0;//set start time to reset state now
			  }
			  temp = __HAL_TIM_GET_COUNTER(&htim2);
			  if(temp<L[1])
				  timT[1] = timT[1] + temp + 65535 - L[1];// if timer rolled over calc total time now

			  else
				  timT[1] = timT[1] + (temp - L[1]);// if timer didn't roll over calc total time now
			  L[1] = temp;
		  }
		  else if(timF[2] != 10)
		  {
			  if(timS[2] != 0)//if start value isn't in reset state
			  {
				  timF[2] = timF[2] + timS[2];
				  timS[2] = 0;//set start time to reset state now
			  }
			  temp = __HAL_TIM_GET_COUNTER(&htim2);
			  if(temp<L[2])
				  timT[2] = timT[2] + temp + 65535 - L[2];// if timer rolled over calc total time now

			  else
				  timT[2] = timT[2] + (temp - L[2]);// if timer didn't roll over calc total time now
			  L[2] = temp;
		  }
		  else
			  timT[0] = 11;//reset for no timer
	  }

	  if(timT[0] == 11)// if infinite loop reset timer and head back int while loop this way we get an OS delay every time
		  timT[0] = 0;

	  if(timT[0] >= timF[0])//reset solenoid 1 timings
	  {
			Water[0] = Flow[0] * timT[0];
			timT[0] = 0;
			timF[0] = 10;
			liters[0] = Water[0] + Water[1] + Water[2];//set total water used
			liters[1] = (liters[0]%10) + 0x30;
			liters[0] = (liters[0]/10) + 0x30;
	  }
	  if(timT[1] >= timF[1])//reset solenoid 2 timings
	  {
			Water[1] = Flow[1] * timT[1];
			timT[1] = 0;
			timF[1] = 10;
			liters[0] = Water[0] + Water[1] + Water[2];//set total water used
			liters[1] = (liters[0]%10) + 0x30;
			liters[0] = (liters[0]/10) + 0x30;
	  }
	  if(timT[2] >= timF[2])//reset solenoid 3 timings
	  {
			Water[2] = Flow[2] * timT[2];
			timT[2] = 0;
			timF[2] = 10;
			liters[0] = Water[0] + Water[1] + Water[2];//set total water used
			liters[1] = (liters[0]%10) + 0x30;
			liters[0] = (liters[0]/10) + 0x30;
	  }
	  osDelay(1);
  }
  /* USER CODE END StartSolenoidTask */
}

void StartWeatherTask(void *argument)
{
  /* USER CODE BEGIN StartWeatherTask */
	uint16_t period[20], raw[20];
	uint16_t tickstart, tickend, totalP, totalT, a, b;
	uint16_t Pcount = 0;

	HAL_TIM_Base_Start(&htim2);

  /* Infinite loop */
  for(;;)
  {
		while(Pcount < 20)// get 20 readings of Relative humidity at a time
		{
			while(HAL_GPIO_ReadPin(GPIOC, GPIO_PIN_0) == 0)
			{}
			tickstart = __HAL_TIM_GET_COUNTER(&htim2);//on a 1 input measure a period
			while(HAL_GPIO_ReadPin(GPIOC, GPIO_PIN_0) == 1)
			{}
			while(HAL_GPIO_ReadPin(GPIOC, GPIO_PIN_0) == 0)
			{}
			tickend = __HAL_TIM_GET_COUNTER(&htim2);//end the period measurement after getting a 1 again
			if(tickend > tickstart)
				period[Pcount] = tickend - tickstart;
			else
				period[Pcount] = (65535 - tickstart) + tickend;

			if(period[Pcount]< 1000)
				Pcount++;
		}// now with at least 20 readings of frequency
		 //get temperature value
		for(int i = 0; i < 20; i++)
		{
			HAL_ADC_Start(&hadc1);
			HAL_ADC_PollForConversion(&hadc1, HAL_MAX_DELAY);
			raw[i] = HAL_ADC_GetValue(&hadc1);
		}

		Pcount = 0;//reset counters and total values for entry of new totals
		totalT = 0;
		totalP = 0;
		for(int i = 0; i < 20; i++)
		{
			totalT = totalT +raw[i];
			totalP = totalP +period[i];
		}
		totalT = totalT/20;
		totalP = totalP/20;//find average value after 20 readings of each
		if(a != totalT || b != totalP)//check to make sure there is a new value being entered
		{
			Temperature = totalT;//assign values to variable if new
			Humidity = totalP;
			calcRain();
			a = totalT;//assign check variables looking for new data
			b = totalP;
		}
    osDelay(1);
  }
  /* USER CODE END StartWeatherTask */
}

void StartFlowTask(void *argument)
{
  /* USER CODE BEGIN StartFlowTask */
  	uint8_t F = 0, L = 0, o[3] = {1,1,1};
  	uint16_t f1 = 0, f2 = 0, f3 = 0, tickL =0, temp;
  	uint16_t C[20] = {0,0,0,0,0,0,0,0,0,0,0,0,0,0,0,0,0,0,0,0};
  	uint32_t total = 0, tickS;

  /* Infinite loop */
  for(;;)
  {
	  if(HAL_GPIO_ReadPin(GPIOB, GPIO_PIN_7) == 1 && o[0] == 1)//if solenoid 1 is running and we haven't already measured its flow
	  {
		  for(int j =0; j < 20; j++)//measure 20 flow values
		  {
			  HAL_TIM_Base_Start(&htim1);
			  tickS = __HAL_TIM_GET_COUNTER(&htim1) + 983025;//get start time add total time to be measured, 65535 ticks per sec*15s = 983025
			  while(total< tickS)
			  {
				  F = HAL_GPIO_ReadPin(GPIOB, GPIO_PIN_6);//solenoid b7 is this sensors
				  if(F == 1 && F!=L)//if signal changed
				  {
					  C[j]++;//add to count
				  }
				  L=F;
				  temp = __HAL_TIM_GET_COUNTER(&htim1);
				  if (temp < tickL)
					  total = total + temp + (65535 - tickL);//if timer roll over, increment timer
				  else
					  total = total + temp - tickL;//if no timer roll over increment timer

				  tickL = temp;//reset timer roll over check value
			  }
			  HAL_TIM_Base_Stop(&htim1);
			  total = 0;
		  }
		  f1 =0;
		  for(int j =0; j < 20; j++)// average all 20 flow rates
		  {
			  f1 = f1 + C[j];
			  C[j] = 0;
		  }
		  f1 = f1 / 100;
		  Flow[0] = f1;//set flow rate
		  o[0] = 0;
	  }
	  else if(HAL_GPIO_ReadPin(GPIOB, GPIO_PIN_7) == 0 && o[0] == 0)//if solenoid 1 is off and we already measured flow rate
	  {
		  o[0] = 1;//meaning this watering is done and we have flow rate so reset check flag
	  }

	  if(HAL_GPIO_ReadPin(GPIOB, GPIO_PIN_5) == 1 && o[1] == 1)//if solenoid 2 is running and we haven't already measured its flow
	  {
		  for(int j =0; j < 20; j++)//measure 20 flow values
		  {
			  HAL_TIM_Base_Start(&htim1);
			  tickS = __HAL_TIM_GET_COUNTER(&htim1) + 983025;//get start time add total time to be measured, 65535 ticks per sec*15s = 983025
			  while(total < tickS)
			  {
				  F = HAL_GPIO_ReadPin(GPIOC, GPIO_PIN_1);//solenoid b5 is this sensors
				  if(F == 1 && F!=L)//if signal changed
				  {
					  C[j]++;//add one to count
				  }
				  L=F;
				  temp = __HAL_TIM_GET_COUNTER(&htim1);
				  if (temp < tickL)
					  total = total + temp + (65535 - tickL);//if timer roll over, increment timer

				  else
					  total = total + temp - tickL;//if no timer roll over increment timer

				  tickL = temp;//reset timer roll over check value
			  }
			  HAL_TIM_Base_Stop(&htim1);
			  total = 0;
		  }
		  f2 = 0;
		  for(int j =0; j < 20; j++)// average all 20 flow rates
		  {
			  f2 = f2 + C[j];
			  C[j] = 0;
		  }
		  f2 = f2 / 100;
		  Flow[1] = f2;//set flow rate
		  o[1] = 0;
	  }
	  else if(HAL_GPIO_ReadPin(GPIOB, GPIO_PIN_5) == 0 && o[1] == 0)//if solenoid 2 is off and we already measured flow rate
	  {
		  o[1] = 1;//meaning this watering is done and we have flow rate so reset check flag
	  }

	  if(HAL_GPIO_ReadPin(GPIOB, GPIO_PIN_7) == 1 && o[2] == 1)//if solenoid 3 is running and we haven't already measured its flow
	  {
		  for(int j =0; j < 20; j++)//measure 20 flow values
		  {
			  HAL_TIM_Base_Start(&htim1);
			  tickS = __HAL_TIM_GET_COUNTER(&htim1) + 983025;//get start time add total time to be measured, 65535 ticks per sec*15s = 983025
			  while(total < tickS)
			  {
				  F = HAL_GPIO_ReadPin(GPIOC, GPIO_PIN_2);//solenoid b4 is this sensors
				  if(F == 1 && F!=L)//if signal changed
				  {
					  C[j]++;//add one to count
				  }
				  L=F;
				  temp = __HAL_TIM_GET_COUNTER(&htim1);
				  if (temp < tickL)
					  total = total + temp + (65535 - tickL);//if timer roll over, increment timer

				  else
					  total = total+ temp - tickL;//if no timer roll over increment timer

				  tickL = temp;//reset timer roll over check value
			  }
			  HAL_TIM_Base_Stop(&htim1);
			  total = 0;
		  }
		  f3 = 0;
		  for(int j =0; j < 20; j++)// average all 20 flow rates
		  {
			  f3 = f3 + C[j];
			  C[j] = 0;
		  }
		  f3 = f3 / 100;
		  Flow[2] = f3;//set flow rate
		  o[2] = 0;
	  }
	  else if(HAL_GPIO_ReadPin(GPIOB, GPIO_PIN_7) == 0 && o[2] == 0)//if solenoid 2 is off and we already measured flow rate
	  {
		  o[2] = 1;//meaning this watering is done and we have flow rate so reset check flag
	  }
	  osDelay(1);
  }
  /* USER CODE END StartFlowTask */
}

void StartWebsiteTask(void *argument)
{
  /* USER CODE BEGIN StartWebsiteTask */
	uint8_t BufferRX[50];
  /* Infinite loop */
  for(;;)
  {
	  if(HAL_UART_Receive(&huart1, BufferRX, 2, 300) == HAL_OK)
  	  {
  		web[0]++;
  		web[1] = BufferRX[0];//Sun has set or not
  		web[2] = BufferRX[1];//Chance of precipitation
  	  }
    osDelay(1);
  }
  /* USER CODE END StartWebsiteTask */
}

 /**
  * @brief  Period elapsed callback in non blocking mode
  * @note   This function is called  when TIM4 interrupt took place, inside
  * HAL_TIM_IRQHandler(). It makes a direct call to HAL_IncTick() to increment
  * a global variable "uwTick" used as application time base.
  * @param  htim : TIM handle
  * @retval None
  */
void HAL_TIM_PeriodElapsedCallback(TIM_HandleTypeDef *htim)
{
  if (htim->Instance == TIM4) {
    HAL_IncTick();
  }
}

void Error_Handler(void)
{
  __disable_irq();
  while (1)
  {
  }
}

/************************ (C) COPYRIGHT STMicroelectronics *****END OF FILE****/
